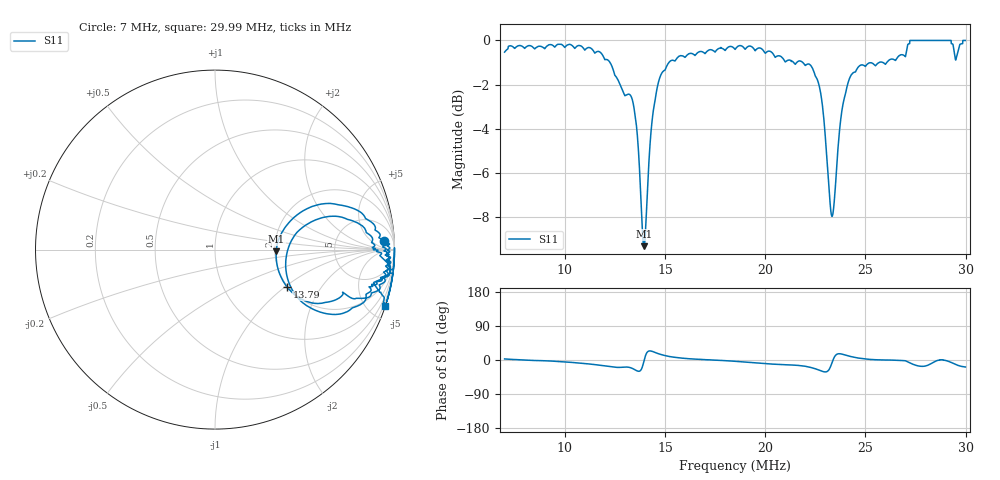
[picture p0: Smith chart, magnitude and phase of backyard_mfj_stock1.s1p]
! Touchstone file generated by AntScope2
# MHz Z RI R 50
! Format: Frequency Z-real Z-imaginary (normalized to 50 Ohm)
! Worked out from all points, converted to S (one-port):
!   2000 points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, 7 MHz to 29.99 MHz, reference 50 ohm
!   lowest |S11| = -9.3 dB at 13.96 MHz (marker M1), VSWR 2.04, Z = 102 - j2.26 ohm
!   |S11| at or under -10 dB: nowhere
!   S11 on the Smith chart (normalised r, x): 7 MHz: 20, +16; 13.79 MHz: 1.98, -1.04; 29.99 MHz: -0.00, -6.16
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7  20.05 15.99
9.875  6.47 -22.84
11.738  1.978 -7.856
12.75  2.76 -4.011
13.348  2.64 -3.171
13.6125  2.068 -1.985
13.785  1.98 -1.041
13.9575  2.035 -0.0452
14.1645  2.27 1.162
14.3715  2.598 2.395
14.8085  3.783 5.278
15.625  9.234 10.99
18.5  15.47 -20.51
21.375  3.36 -6.979
22.2605  1.956 -5.069
22.801  1.771 -2.855
23.054  1.936 -1.658
23.2955  2.228 -0.478
23.675  3.054 1.64
24.25  6.088 5.223
25.124  15.28 4.376
26.895  23.15 -8.48
27.125  4.163 -20.17
27.539  0 -7.967
27.884  0 -6.814
28.827  0 200
29.54  3.161 -7.742
29.9885  0 -6.162
